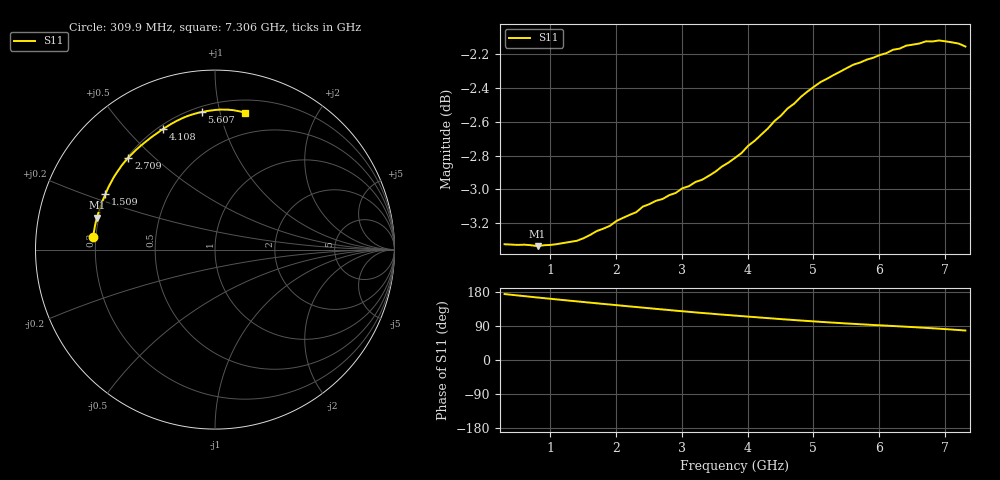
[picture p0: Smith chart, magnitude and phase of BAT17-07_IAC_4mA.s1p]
! Infineon Technologies  Discrete & RF Semiconductors
! BAT17-07
! IAC = 4 mA
! One-Port S-Parameters
# Hz  S  MA  R  50
!f  S11
!Hz  Mag  Ang
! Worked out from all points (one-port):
!   71 points, 309.9 MHz to 7.306 GHz, reference 50 ohm
!   lowest |S11| = -3.3 dB at 809.6 MHz (marker M1), VSWR 5.27, Z = 9.65 + j6.38 ohm
!   |S11| at or under -10 dB: nowhere
!   S11 on the Smith chart (normalised r, x): 309.9 MHz: 0.19, +0.05; 1.509 GHz: 0.20, +0.23; 2.709 GHz: 0.21, +0.42; 4.108 GHz: 0.22, +0.64; 5.607 GHz: 0.23, +0.88; 7.306 GHz: 0.31, +1.19
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3.0985e8  0.682 174.0
6.097e8  0.6818 168.5
8.096e8  0.6811 164.9
1.2094e9  0.6826 158.1
1.50925e9  0.6848 153.0
1.70915e9  0.6881 149.6
1.90905e9  0.6906 146.4
2.10895e9  0.6944 143.1
2.4088e9  0.6997 138.1
2.70865e9  0.7033 133.4
3.0085e9  0.7085 128.7
3.2084e9  0.7115 125.6
3.6082e9  0.719 119.9
3.8081e9  0.7232 117.1
4.10795e9  0.7318 113.2
4.4078e9  0.7416 109.2
4.70765e9  0.7505 105.4
4.90755e9  0.7567 103.0
5.10745e9  0.7616 100.7
5.50725e9  0.7689 96.3
5.6072e9  0.7706 95.4
5.90705e9  0.7743 92.4
6.2069e9  0.7785 89.7
6.50675e9  0.7812 86.8
6.70665e9  0.783 84.8
6.90655e9  0.7834 82.6
7.10645e9  0.7824 80.3
7.30635e9  0.7802 77.8
